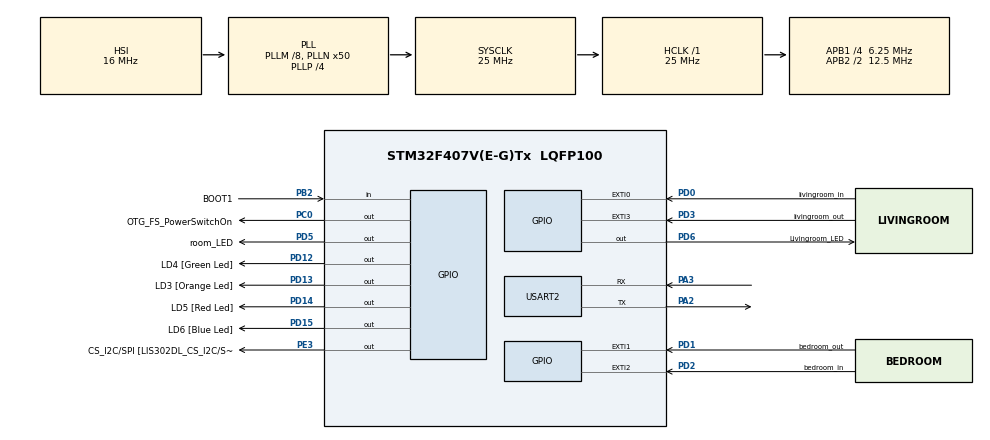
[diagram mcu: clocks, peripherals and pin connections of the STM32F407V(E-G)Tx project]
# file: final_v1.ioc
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Mcu.Family=STM32F4
Mcu.Name=STM32F407V(E-G)Tx
Mcu.Package=LQFP100
NVIC.EXTI0_IRQn=true\:15\:0\:true\:false\:true\:true\:true\:true
NVIC.EXTI1_IRQn=true\:15\:0\:true\:false\:true\:true\:true\:true
NVIC.EXTI2_IRQn=true\:15\:0\:true\:false\:true\:true\:true\:true
NVIC.EXTI3_IRQn=true\:15\:0\:true\:false\:true\:true\:true\:true
NVIC.PriorityGroup=NVIC_PRIORITYGROUP_4
NVIC.TIM7_IRQn=true\:15\:0\:false\:false\:true\:false\:true\:true
NVIC.TimeBase=TIM7_IRQn
NVIC.TimeBaseIP=TIM7
PA10.GPIO_Label=OTG_FS_ID
PA10.GPIO_Mode=GPIO_MODE_AF_PP
PA10.GPIO_PuPd=GPIO_NOPULL
PA10.GPIO_Speed=GPIO_SPEED_FREQ_LOW
PA10.Signal=USB_OTG_FS_ID
PA11.GPIO_Label=OTG_FS_DM
PA11.GPIO_Mode=GPIO_MODE_AF_PP
PA11.GPIO_PuPd=GPIO_NOPULL
PA11.GPIO_Speed=GPIO_SPEED_FREQ_LOW
PA11.Signal=USB_OTG_FS_DM
PA12.GPIO_Label=OTG_FS_DP
PA12.GPIO_Mode=GPIO_MODE_AF_PP
PA12.GPIO_PuPd=GPIO_NOPULL
PA12.GPIO_Speed=GPIO_SPEED_FREQ_LOW
PA12.Signal=USB_OTG_FS_DP
PA13.GPIO_Label=SWDIO
PA13.Mode=Serial_Wire
PA13.Signal=SYS_JTMS-SWDIO
PA14.GPIO_Label=SWCLK
PA14.Mode=Serial_Wire
PA14.Signal=SYS_JTCK-SWCLK
PA2.Mode=Asynchronous
PA2.Signal=USART2_TX
PA3.Mode=Asynchronous
PA3.Signal=USART2_RX
PA4.GPIO_Label=I2S3_WS [CS43L22_LRCK]
PA4.GPIO_Mode=GPIO_MODE_AF_PP
PA4.GPIO_PuPd=GPIO_NOPULL
PA4.GPIO_Speed=GPIO_SPEED_FREQ_LOW
PA4.Signal=I2S3_WS
PA5.GPIO_Label=SPI1_SCK [LIS302DL_SCL/SPC]
PA5.GPIO_Mode=GPIO_MODE_AF_PP
PA5.GPIO_PuPd=GPIO_NOPULL
PA5.GPIO_Speed=GPIO_SPEED_FREQ_LOW
PA5.Signal=SPI1_SCK
PA6.GPIO_Label=SPI1_MISO [LIS302DL_SDO]
PA6.GPIO_Mode=GPIO_MODE_AF_PP
PA6.GPIO_PuPd=GPIO_NOPULL
PA6.GPIO_Speed=GPIO_SPEED_FREQ_LOW
PA6.Signal=SPI1_MISO
PA7.GPIO_Label=SPI1_MOSI [LIS302DL_SDA/SDI/SDO]
PA7.GPIO_Mode=GPIO_MODE_AF_PP
PA7.GPIO_PuPd=GPIO_NOPULL
PA7.GPIO_Speed=GPIO_SPEED_FREQ_LOW
PA7.Signal=SPI1_MOSI
PA9.GPIO_Label=VBUS_FS
PA9.GPIO_Mode=GPIO_MODE_INPUT
PA9.GPIO_PuPd=GPIO_NOPULL
PA9.Signal=USB_OTG_FS_VBUS
PB10.GPIO_Label=CLK_IN [MP45DT02_CLK]
PB10.GPIO_Mode=GPIO_MODE_AF_PP
PB10.GPIO_PuPd=GPIO_NOPULL
PB10.GPIO_Speed=GPIO_SPEED_FREQ_LOW
PB10.Signal=I2S2_CK
PB2.GPIO_Label=BOOT1
PB2.GPIO_Mode=GPIO_MODE_INPUT
PB2.GPIO_PuPd=GPIO_NOPULL
PB2.Signal=GPIO_Input
PB3.GPIO_Label=SWO
PB3.Signal=SYS_JTDO-SWO
PB6.GPIO_Label=Audio_SCL [CS43L22_SCL]
PB6.GPIO_Mode=GPIO_MODE_AF_OD
PB6.GPIO_PuPd=GPIO_NOPULL
PB6.GPIO_Speed=GPIO_SPEED_FREQ_LOW
PB6.Signal=I2C1_SCL
PB9.GPIO_Label=Audio_SDA [CS43L22_SDA]
PB9.GPIO_Mode=GPIO_MODE_AF_OD
PB9.GPIO_PuPd=GPIO_NOPULL
PB9.GPIO_Speed=GPIO_SPEED_FREQ_LOW
PB9.Signal=I2C1_SDA
PC0.GPIO_Label=OTG_FS_PowerSwitchOn
PC0.GPIO_PuPd=GPIO_NOPULL
PC0.GPIO_Speed=GPIO_SPEED_FREQ_LOW
PC0.PinState=GPIO_PIN_SET
PC0.Signal=GPIO_Output
PC10.GPIO_Label=I2S3_SCK [CS43L22_SCLK]
PC10.GPIO_Mode=GPIO_MODE_AF_PP
PC10.GPIO_PuPd=GPIO_NOPULL
PC10.GPIO_Speed=GPIO_SPEED_FREQ_LOW
PC10.Signal=I2S3_CK
PC12.GPIO_Label=I2S3_SD [CS43L22_SDIN]
PC12.GPIO_Mode=GPIO_MODE_AF_PP
PC12.GPIO_PuPd=GPIO_NOPULL
PC12.GPIO_Speed=GPIO_SPEED_FREQ_LOW
PC12.Signal=I2S3_SD
PC14-OSC32_IN.GPIO_Label=PC14-OSC32_IN
PC14-OSC32_IN.Signal=RCC_OSC32_IN
PC15-OSC32_OUT.GPIO_Label=PC15-OSC32_OUT
PC15-OSC32_OUT.Signal=RCC_OSC32_OUT
PC3.GPIO_Label=PDM_OUT [MP45DT02_DOUT]
PC3.GPIO_Mode=GPIO_MODE_AF_PP
PC3.GPIO_PuPd=GPIO_NOPULL
PC3.GPIO_Speed=GPIO_SPEED_FREQ_LOW
PC3.Signal=I2S2_SD
PC7.GPIO_Label=I2S3_MCK [CS43L22_MCLK]
PC7.GPIO_Mode=GPIO_MODE_AF_PP
PC7.GPIO_PuPd=GPIO_NOPULL
PC7.GPIO_Speed=GPIO_SPEED_FREQ_LOW
PC7.Signal=I2S3_MCK
PD0.GPIO_Label=livingroom_in
PD0.Signal=GPXTI0
PD1.GPIO_Label=bedroom_out
PD1.Signal=GPXTI1
PD12.GPIO_Label=LD4 [Green Led]
PD12.GPIO_PuPd=GPIO_NOPULL
PD12.GPIO_Speed=GPIO_SPEED_FREQ_LOW
PD12.Signal=GPIO_Output
PD13.GPIO_Label=LD3 [Orange Led]
PD13.GPIO_PuPd=GPIO_NOPULL
PD13.GPIO_Speed=GPIO_SPEED_FREQ_LOW
PD13.Signal=GPIO_Output
PD14.GPIO_Label=LD5 [Red Led]
PD14.GPIO_PuPd=GPIO_NOPULL
PD14.GPIO_Speed=GPIO_SPEED_FREQ_LOW
PD14.Signal=GPIO_Output
PD15.GPIO_Label=LD6 [Blue Led]
PD15.GPIO_PuPd=GPIO_NOPULL
PD15.GPIO_Speed=GPIO_SPEED_FREQ_LOW
PD15.Signal=GPIO_Output
PD2.GPIO_Label=bedroom_in
PD2.Signal=GPXTI2
PD3.GPIO_Label=livingroom_out
PD3.Signal=GPXTI3
PD5.GPIO_Label=room_LED
PD5.Signal=GPIO_Output
PD6.GPIO_Label=Livingroom_LED
PD6.Signal=GPIO_Output
PE3.GPIO_Label=CS_I2C/SPI [LIS302DL_CS_I2C/SPI]
PE3.GPIO_PuPd=GPIO_NOPULL
PE3.GPIO_Speed=GPIO_SPEED_FREQ_LOW
PE3.Signal=GPIO_Output
PH0-OSC_IN.GPIO_Label=PH0-OSC_IN
PH0-OSC_IN.Signal=RCC_OSC_IN
PH1-OSC_OUT.GPIO_Label=PH1-OSC_OUT
PH1-OSC_OUT.Signal=RCC_OSC_OUT
ProjectManager.HeapSize=0x200
ProjectManager.StackSize=0x400
ProjectManager.TargetToolchain=STM32CubeIDE
RCC.48MHZClocksFreq_Value=14285714.285714285
RCC.AHBFreq_Value=25000000
RCC.APB1CLKDivider=RCC_HCLK_DIV4
RCC.APB1Freq_Value=6250000
RCC.APB1TimFreq_Value=12500000
RCC.APB2CLKDivider=RCC_HCLK_DIV2
RCC.APB2Freq_Value=12500000
RCC.APB2TimFreq_Value=25000000
RCC.CortexFreq_Value=25000000
RCC.HCLKFreq_Value=25000000
RCC.HSE_VALUE=8000000
RCC.HSI_VALUE=16000000
RCC.LSE_VALUE=32768
RCC.PLLM=8
RCC.PLLN=50
RCC.PLLP=RCC_PLLP_DIV4
RCC.PLLQ=7
RCC.SYSCLKFreq_VALUE=25000000
RCC.SYSCLKSource=RCC_SYSCLKSOURCE_PLLCLK
RCC.VCOOutputFreq_Value=100000000
USART2.VirtualMode=VM_ASYNC
VP_SYS_VS_tim7.Mode=TIM7
board=STM32F407G-DISC1

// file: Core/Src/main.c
/* USER CODE BEGIN Header */
/**
  ******************************************************************************
  * @file           : main.c
  * @brief          : Main program body
  ******************************************************************************
  * @attention
  *
  * Copyright (c) 2022 STMicroelectronics.
  * All rights reserved.
  *
  * This software is licensed under terms that can be found in the LICENSE file
  * in the root directory of this software component.
  * If no LICENSE file comes with this software, it is provided AS-IS.
  *
  ******************************************************************************
  */
/* USER CODE END Header */
#include "main.h"

/* USER CODE BEGIN Includes */
#include"FreeRTOS.h"
#include"task.h"
#include"semphr.h"

/* USER CODE END Includes */

UART_HandleTypeDef huart2;

void SystemClock_Config(void);
static void MX_GPIO_Init(void);
static void MX_USART2_UART_Init(void);

/* USER CODE BEGIN 0 */
BaseType_t xReturned;
TaskHandle_t xHandle=NULL;

// flags
int bedroom_out = 0;
int bedroom_in = 0;
int livingroom_out = 0;
int livingroom_in = 0;

// there are 2 counter
int number_of_people_livingroom = 0;
int number_of_people_bedroom = 0;
// there are 2 array to store sensor change state
// [out,in, out,in]
int bedroom_state[4] = {0,0,0,0};
int livingroom_state[4] = {0,0,0,0};

int counter_bed = 5;
int counter_living = 5;

SemaphoreHandle_t xSemaphore;

//void HAL_GPIO_EXTI_Callback(uint16_t GPIO_Pin);
//void HAL_GPIO_EXTI_IRQHandler(uint16_t GPIO_Pin);

//void Sensor_LED( void );

void Sensor_bedroom_in( void );
void Sensor_bedroom_out( void );
void Sensor_livingroom_in( void );
void Sensor_livingroom_out( void );

void LED_task( void );

void LED_Task( void ){
	HAL_GPIO_WritePin(GPIOD, GPIO_PIN_12 | GPIO_PIN_13 | GPIO_PIN_14 | GPIO_PIN_15, GPIO_PIN_RESET);
	for(;;){

		HAL_GPIO_WritePin(GPIOD, GPIO_PIN_12, GPIO_PIN_SET );
		vTaskDelay(500);
		HAL_GPIO_WritePin(GPIOD, GPIO_PIN_12, GPIO_PIN_RESET );
		vTaskDelay(500);
	}
}

// for UART2
void USART_Test(void *pvParameters){
	uint32_t Monitortimer = 400;
	char MonitorTset[30];
	char num[15];
	int i = 0;
	while(1){
		 memset(MonitorTset,'\0',sizeof(MonitorTset));
		 memset(num,'\0',sizeof(num));
		 itoa(i,num,10);
		 strcat(num," ");
		 sprintf(MonitorTset,"The point is %s\n\r",num);
		 HAL_UART_Transmit(&huart2,(uint8_t *)MonitorTset,strlen(MonitorTset),0xffff);
		 vTaskDelay(Monitortimer);
		 Monitortimer += 1;
		 i += 1;
	 }
 }

/* USER CODE END 0 */

int main(void)
{

  /* MCU Configuration--------------------------------------------------------*/

  /* Reset of all peripherals, Initializes the Flash interface and the Systick. */
  HAL_Init();

  /* Configure the system clock */
  SystemClock_Config();

  /* Initialize all configured peripherals */
  MX_GPIO_Init();
  MX_USART2_UART_Init();
  /* USER CODE BEGIN 2 */
//  xTaskCreate(
//		  USART_Test,
//		  "USART_Test",
//		  128,
//		  NULL,
//		  1,
//		  &xHandle);

//  xTaskCreate(Sensor_bedroom_in,"Sensor_bedroom_in",128,NULL,3,&xHandle);
//  xTaskCreate(Sensor_bedroom_out,"Sensor_bedroom_out",128,NULL,3,&xHandle);
//  xTaskCreate(Sensor_livingroom_in,"Sensor_livingroom_in",128,NULL,3,&xHandle);
//  xTaskCreate(Sensor_livingroom_out,"Sensor_livingroom_out",128,NULL,3,&xHandle);
  xSemaphore = xSemaphoreCreateBinary();

  xTaskCreate(LED_task,"LED_task",128,NULL,1,&xHandle);

  vTaskStartScheduler();
  /* USER CODE END 2 */

  /* Infinite loop */
  while (1)
  {

  }
}

void SystemClock_Config(void)
{
  RCC_OscInitTypeDef RCC_OscInitStruct = {0};
  RCC_ClkInitTypeDef RCC_ClkInitStruct = {0};

  /** Configure the main internal regulator output voltage
  */
  __HAL_RCC_PWR_CLK_ENABLE();
  __HAL_PWR_VOLTAGESCALING_CONFIG(PWR_REGULATOR_VOLTAGE_SCALE1);

  /** Initializes the RCC Oscillators according to the specified parameters
  * in the RCC_OscInitTypeDef structure.
  */
  RCC_OscInitStruct.OscillatorType = RCC_OSCILLATORTYPE_HSI;
  RCC_OscInitStruct.HSIState = RCC_HSI_ON;
  RCC_OscInitStruct.HSICalibrationValue = RCC_HSICALIBRATION_DEFAULT;
  RCC_OscInitStruct.PLL.PLLState = RCC_PLL_ON;
  RCC_OscInitStruct.PLL.PLLSource = RCC_PLLSOURCE_HSI;
  RCC_OscInitStruct.PLL.PLLM = 8;
  RCC_OscInitStruct.PLL.PLLN = 50;
  RCC_OscInitStruct.PLL.PLLP = RCC_PLLP_DIV4;
  RCC_OscInitStruct.PLL.PLLQ = 7;
  if (HAL_RCC_OscConfig(&RCC_OscInitStruct) != HAL_OK)
  {
    Error_Handler();
  }

  /** Initializes the CPU, AHB and APB buses clocks
  */
  RCC_ClkInitStruct.ClockType = RCC_CLOCKTYPE_HCLK|RCC_CLOCKTYPE_SYSCLK
                              |RCC_CLOCKTYPE_PCLK1|RCC_CLOCKTYPE_PCLK2;
  RCC_ClkInitStruct.SYSCLKSource = RCC_SYSCLKSOURCE_PLLCLK;
  RCC_ClkInitStruct.AHBCLKDivider = RCC_SYSCLK_DIV1;
  RCC_ClkInitStruct.APB1CLKDivider = RCC_HCLK_DIV4;
  RCC_ClkInitStruct.APB2CLKDivider = RCC_HCLK_DIV2;

  if (HAL_RCC_ClockConfig(&RCC_ClkInitStruct, FLASH_LATENCY_0) != HAL_OK)
  {
    Error_Handler();
  }
}

static void MX_USART2_UART_Init(void)
{

  huart2.Instance = USART2;
  huart2.Init.BaudRate = 115200;
  huart2.Init.WordLength = UART_WORDLENGTH_8B;
  huart2.Init.StopBits = UART_STOPBITS_1;
  huart2.Init.Parity = UART_PARITY_NONE;
  huart2.Init.Mode = UART_MODE_TX_RX;
  huart2.Init.HwFlowCtl = UART_HWCONTROL_NONE;
  huart2.Init.OverSampling = UART_OVERSAMPLING_16;
  if (HAL_UART_Init(&huart2) != HAL_OK)
  {
    Error_Handler();
  }

}

static void MX_GPIO_Init(void)
{
  GPIO_InitTypeDef GPIO_InitStruct = {0};

  /* GPIO Ports Clock Enable */
  __HAL_RCC_GPIOE_CLK_ENABLE();
  __HAL_RCC_GPIOC_CLK_ENABLE();
  __HAL_RCC_GPIOH_CLK_ENABLE();
  __HAL_RCC_GPIOA_CLK_ENABLE();
  __HAL_RCC_GPIOB_CLK_ENABLE();
  __HAL_RCC_GPIOD_CLK_ENABLE();

  /*Configure GPIO pin Output Level */
  HAL_GPIO_WritePin(CS_I2C_SPI_GPIO_Port, CS_I2C_SPI_Pin, GPIO_PIN_RESET);

  /*Configure GPIO pin Output Level */
  HAL_GPIO_WritePin(OTG_FS_PowerSwitchOn_GPIO_Port, OTG_FS_PowerSwitchOn_Pin, GPIO_PIN_SET);

  /*Configure GPIO pin Output Level */
  HAL_GPIO_WritePin(GPIOD, LD4_Pin|LD3_Pin|LD5_Pin|LD6_Pin
                          |room_LED_Pin|Livingroom_LED_Pin, GPIO_PIN_RESET);

  /*Configure GPIO pin : CS_I2C_SPI_Pin */
  GPIO_InitStruct.Pin = CS_I2C_SPI_Pin;
  GPIO_InitStruct.Mode = GPIO_MODE_OUTPUT_PP;
  GPIO_InitStruct.Pull = GPIO_NOPULL;
  GPIO_InitStruct.Speed = GPIO_SPEED_FREQ_LOW;
  HAL_GPIO_Init(CS_I2C_SPI_GPIO_Port, &GPIO_InitStruct);

  /*Configure GPIO pin : OTG_FS_PowerSwitchOn_Pin */
  GPIO_InitStruct.Pin = OTG_FS_PowerSwitchOn_Pin;
  GPIO_InitStruct.Mode = GPIO_MODE_OUTPUT_PP;
  GPIO_InitStruct.Pull = GPIO_NOPULL;
  GPIO_InitStruct.Speed = GPIO_SPEED_FREQ_LOW;
  HAL_GPIO_Init(OTG_FS_PowerSwitchOn_GPIO_Port, &GPIO_InitStruct);

  /*Configure GPIO pin : PDM_OUT_Pin */
  GPIO_InitStruct.Pin = PDM_OUT_Pin;
  GPIO_InitStruct.Mode = GPIO_MODE_AF_PP;
  GPIO_InitStruct.Pull = GPIO_NOPULL;
  GPIO_InitStruct.Speed = GPIO_SPEED_FREQ_LOW;
  GPIO_InitStruct.Alternate = GPIO_AF5_SPI2;
  HAL_GPIO_Init(PDM_OUT_GPIO_Port, &GPIO_InitStruct);

  /*Configure GPIO pin : I2S3_WS_Pin */
  GPIO_InitStruct.Pin = I2S3_WS_Pin;
  GPIO_InitStruct.Mode = GPIO_MODE_AF_PP;
  GPIO_InitStruct.Pull = GPIO_NOPULL;
  GPIO_InitStruct.Speed = GPIO_SPEED_FREQ_LOW;
  GPIO_InitStruct.Alternate = GPIO_AF6_SPI3;
  HAL_GPIO_Init(I2S3_WS_GPIO_Port, &GPIO_InitStruct);

  /*Configure GPIO pins : SPI1_SCK_Pin SPI1_MISO_Pin SPI1_MOSI_Pin */
  GPIO_InitStruct.Pin = SPI1_SCK_Pin|SPI1_MISO_Pin|SPI1_MOSI_Pin;
  GPIO_InitStruct.Mode = GPIO_MODE_AF_PP;
  GPIO_InitStruct.Pull = GPIO_NOPULL;
  GPIO_InitStruct.Speed = GPIO_SPEED_FREQ_LOW;
  GPIO_InitStruct.Alternate = GPIO_AF5_SPI1;
  HAL_GPIO_Init(GPIOA, &GPIO_InitStruct);

  /*Configure GPIO pin : BOOT1_Pin */
  GPIO_InitStruct.Pin = BOOT1_Pin;
  GPIO_InitStruct.Mode = GPIO_MODE_INPUT;
  GPIO_InitStruct.Pull = GPIO_NOPULL;
  HAL_GPIO_Init(BOOT1_GPIO_Port, &GPIO_InitStruct);

  /*Configure GPIO pin : CLK_IN_Pin */
  GPIO_InitStruct.Pin = CLK_IN_Pin;
  GPIO_InitStruct.Mode = GPIO_MODE_AF_PP;
  GPIO_InitStruct.Pull = GPIO_NOPULL;
  GPIO_InitStruct.Speed = GPIO_SPEED_FREQ_LOW;
  GPIO_InitStruct.Alternate = GPIO_AF5_SPI2;
  HAL_GPIO_Init(CLK_IN_GPIO_Port, &GPIO_InitStruct);

  /*Configure GPIO pins : LD4_Pin LD3_Pin LD5_Pin LD6_Pin
                           room_LED_Pin Livingroom_LED_Pin */
  GPIO_InitStruct.Pin = LD4_Pin|LD3_Pin|LD5_Pin|LD6_Pin
                          |room_LED_Pin|Livingroom_LED_Pin;
  GPIO_InitStruct.Mode = GPIO_MODE_OUTPUT_PP;
  GPIO_InitStruct.Pull = GPIO_NOPULL;
  GPIO_InitStruct.Speed = GPIO_SPEED_FREQ_LOW;
  HAL_GPIO_Init(GPIOD, &GPIO_InitStruct);

  /*Configure GPIO pins : I2S3_MCK_Pin I2S3_SCK_Pin I2S3_SD_Pin */
  GPIO_InitStruct.Pin = I2S3_MCK_Pin|I2S3_SCK_Pin|I2S3_SD_Pin;
  GPIO_InitStruct.Mode = GPIO_MODE_AF_PP;
  GPIO_InitStruct.Pull = GPIO_NOPULL;
  GPIO_InitStruct.Speed = GPIO_SPEED_FREQ_LOW;
  GPIO_InitStruct.Alternate = GPIO_AF6_SPI3;
  HAL_GPIO_Init(GPIOC, &GPIO_InitStruct);

  /*Configure GPIO pin : VBUS_FS_Pin */
  GPIO_InitStruct.Pin = VBUS_FS_Pin;
  GPIO_InitStruct.Mode = GPIO_MODE_INPUT;
  GPIO_InitStruct.Pull = GPIO_NOPULL;
  HAL_GPIO_Init(VBUS_FS_GPIO_Port, &GPIO_InitStruct);

  /*Configure GPIO pins : OTG_FS_ID_Pin OTG_FS_DM_Pin OTG_FS_DP_Pin */
  GPIO_InitStruct.Pin = OTG_FS_ID_Pin|OTG_FS_DM_Pin|OTG_FS_DP_Pin;
  GPIO_InitStruct.Mode = GPIO_MODE_AF_PP;
  GPIO_InitStruct.Pull = GPIO_NOPULL;
  GPIO_InitStruct.Speed = GPIO_SPEED_FREQ_LOW;
  GPIO_InitStruct.Alternate = GPIO_AF10_OTG_FS;
  HAL_GPIO_Init(GPIOA, &GPIO_InitStruct);

  /*Configure GPIO pins : livingroom_in_Pin bedroom_out_Pin bedroom_in_Pin livingroom_out_Pin */
  GPIO_InitStruct.Pin = livingroom_in_Pin|bedroom_out_Pin|bedroom_in_Pin|livingroom_out_Pin;
  GPIO_InitStruct.Mode = GPIO_MODE_IT_RISING;
  GPIO_InitStruct.Pull = GPIO_NOPULL;
  HAL_GPIO_Init(GPIOD, &GPIO_InitStruct);

  /*Configure GPIO pins : Audio_SCL_Pin Audio_SDA_Pin */
  GPIO_InitStruct.Pin = Audio_SCL_Pin|Audio_SDA_Pin;
  GPIO_InitStruct.Mode = GPIO_MODE_AF_OD;
  GPIO_InitStruct.Pull = GPIO_NOPULL;
  GPIO_InitStruct.Speed = GPIO_SPEED_FREQ_LOW;
  GPIO_InitStruct.Alternate = GPIO_AF4_I2C1;
  HAL_GPIO_Init(GPIOB, &GPIO_InitStruct);

  /* EXTI interrupt init*/
  HAL_NVIC_SetPriority(EXTI0_IRQn, 15, 0);
  HAL_NVIC_EnableIRQ(EXTI0_IRQn);

  HAL_NVIC_SetPriority(EXTI1_IRQn, 15, 0);
  HAL_NVIC_EnableIRQ(EXTI1_IRQn);

  HAL_NVIC_SetPriority(EXTI2_IRQn, 15, 0);
  HAL_NVIC_EnableIRQ(EXTI2_IRQn);

  HAL_NVIC_SetPriority(EXTI3_IRQn, 15, 0);
  HAL_NVIC_EnableIRQ(EXTI3_IRQn);

}

/* USER CODE BEGIN 4 */

void EXTI0_IRQHandler(void)
{
  /* USER CODE BEGIN EXTI0_IRQn 0 */
	livingroom_in = 1;
  /* USER CODE END EXTI0_IRQn 0 */
  HAL_GPIO_EXTI_IRQHandler(livingroom_in_Pin);

  counter_living = 5;

  /* USER CODE BEGIN EXTI0_IRQn 1 */

  /* USER CODE END EXTI0_IRQn 1 */
}

/**
  * @brief This function handles EXTI line1 interrupt.
  */
void EXTI1_IRQHandler(void)
{
  /* USER CODE BEGIN EXTI1_IRQn 0 */
	bedroom_out = 1;
  /* USER CODE END EXTI1_IRQn 0 */

  HAL_GPIO_EXTI_IRQHandler(bedroom_out_Pin);
  /* USER CODE BEGIN EXTI1_IRQn 1 */
  counter_bed = 5;
  /* USER CODE END EXTI1_IRQn 1 */
}

/**
  * @brief This function handles EXTI line2 interrupt.
  */
void EXTI2_IRQHandler(void)
{
  /* USER CODE BEGIN EXTI2_IRQn 0 */
	bedroom_in = 1;

  /* USER CODE END EXTI2_IRQn 0 */
  HAL_GPIO_EXTI_IRQHandler(bedroom_in_Pin);
  /* USER CODE BEGIN EXTI2_IRQn 1 */
  counter_bed = 5;
  // Clear the EXTI line 0 pending interrupt flag
//  __HAL_GPIO_EXTI_CLEAR_IT(bedroom_in_Pin);

  /* USER CODE END EXTI2_IRQn 1 */
}

/**
  * @brief This function handles EXTI line3 interrupt.
  */
void EXTI3_IRQHandler(void)
{
  /* USER CODE BEGIN EXTI3_IRQn 0 */
	livingroom_out = 1;
  /* USER CODE END EXTI3_IRQn 0 */
  HAL_GPIO_EXTI_IRQHandler(livingroom_out_Pin);
  /* USER CODE BEGIN EXTI3_IRQn 1 */
  counter_living = 5;
  /* USER CODE END EXTI3_IRQn 1 */
}

void HAL_GPIO_EXTI_IRQHandler(uint16_t GPIO_Pin){
	/* EXTI line interrupt detected */
	if(__HAL_GPIO_EXTI_GET_IT(GPIO_Pin) != RESET)
	{

		__HAL_GPIO_EXTI_CLEAR_IT(GPIO_Pin);

		HAL_GPIO_EXTI_Callback(GPIO_Pin);

	}
}

void HAL_GPIO_EXTI_Callback(uint16_t GPIO_Pin){

	BaseType_t *taskwoken;
	taskwoken=pdFALSE;

	char MonitorTset[30];
	memset(MonitorTset,'\0',sizeof(MonitorTset));

	if(GPIO_Pin == bedroom_in_Pin ||  GPIO_Pin == bedroom_out_Pin){
		// state change bedroom
		bedroom_state[0] = bedroom_state[2];
		bedroom_state[1] = bedroom_state[3];
		bedroom_state[2] = bedroom_out;
		bedroom_state[3] = bedroom_in;

		bedroom_in = 0;
		bedroom_out = 0;
	}

	else{
		// state change living room
		livingroom_state[0] = livingroom_state[2];
		livingroom_state[1] = livingroom_state[3];
		livingroom_state[2] = livingroom_out;
		livingroom_state[3] = livingroom_in;

		livingroom_in = 0;
		livingroom_out = 0;
	}

	xSemaphoreGiveFromISR(xSemaphore,&taskwoken);
}

void LED_task ( void ){

	for(;;){
		if(counter_bed > 0){
			counter_bed--;
		}
		if(counter_living > 0){
			counter_living--;
		}

		char MonitorTset[30];
		memset(MonitorTset,'\0',sizeof(MonitorTset));

		if( xSemaphore != NULL ){
			if( xSemaphoreTake( xSemaphore, ( TickType_t ) 10  ) == pdTRUE ){

				sprintf(MonitorTset,"bedroom_state %d %d %d %d\n\r",bedroom_state[0],bedroom_state[1],bedroom_state[2],bedroom_state[3]);
				HAL_UART_Transmit(&huart2,(uint8_t *)MonitorTset,strlen(MonitorTset),0xffff);

				sprintf(MonitorTset,"livingroom_state %d %d %d %d\n\r",livingroom_state[0],livingroom_state[1],livingroom_state[2],livingroom_state[3]);
				HAL_UART_Transmit(&huart2,(uint8_t *)MonitorTset,strlen(MonitorTset),0xffff);

				// for the bedroom
				if(bedroom_state[0]== 1 && bedroom_state[1]== 0 && bedroom_state[2]== 0 && bedroom_state[3]== 1){
					number_of_people_bedroom++;
					number_of_people_livingroom--;

					for(int i = 0 ; i < 4 ; ++i){
						bedroom_state[i] = 0;
					}

				}
				else if(bedroom_state[0]== 0 && bedroom_state[1]== 1 && bedroom_state[2]== 1 && bedroom_state[3]== 0){
					number_of_people_bedroom--;
					number_of_people_livingroom++;
					for(int i = 0 ; i < 4 ; ++i){
						bedroom_state[i] = 0;
					}
				}

				// for the living room
				if(livingroom_state[0]== 1 && livingroom_state[1]== 0 && livingroom_state[2]== 0 && livingroom_state[3]== 1){
					number_of_people_livingroom++;

					for(int i = 0 ; i < 4 ; ++i){
						livingroom_state[i] = 0;
					}

				}
				else if(livingroom_state[0]== 0 && livingroom_state[1]== 1 && livingroom_state[2]== 1 && livingroom_state[3]== 0){
					number_of_people_livingroom--;

					for(int i = 0 ; i < 4 ; ++i){
						livingroom_state[i] = 0;
					}
				}

				sprintf(MonitorTset,"number_of_people_bedroom %d\n\r",number_of_people_bedroom);
				HAL_UART_Transmit(&huart2,(uint8_t *)MonitorTset,strlen(MonitorTset),0xffff);

				sprintf(MonitorTset,"number_of_people_livingroom %d\n\r",number_of_people_livingroom);
				HAL_UART_Transmit(&huart2,(uint8_t *)MonitorTset,strlen(MonitorTset),0xffff);

				// for LED controll
				if(number_of_people_bedroom > 0){
					// turn on the bedroom LED
					HAL_GPIO_WritePin(GPIOD, room_LED_Pin, GPIO_PIN_SET);
				}
				else{
					number_of_people_bedroom = 0;
					// turn off the bedroom LED
					HAL_GPIO_WritePin(GPIOD, room_LED_Pin, GPIO_PIN_RESET);
				}

				if(number_of_people_livingroom > 0){
					// turn on the bedroom LED
					HAL_GPIO_WritePin(GPIOD, Livingroom_LED_Pin, GPIO_PIN_SET);
				}
				else{
					number_of_people_livingroom = 0;
					// turn off the bedroom LED
					HAL_GPIO_WritePin(GPIOD, Livingroom_LED_Pin, GPIO_PIN_RESET);
				}

				if(counter_bed == 0){
					for(int i = 0 ; i < 4 ; ++i){
						bedroom_state[i] = 0;
					}
				}
				if(counter_living == 0){
					for(int i = 0 ; i < 4 ; ++i){
						livingroom_state[i] = 0;
					}
				}

				sprintf(MonitorTset,"counter_bed, counter_living %d, %d\n\r",counter_bed,counter_living);
				HAL_UART_Transmit(&huart2,(uint8_t *)MonitorTset,strlen(MonitorTset),0xffff);

				sprintf(MonitorTset,"\n\r");
				HAL_UART_Transmit(&huart2,(uint8_t *)MonitorTset,strlen(MonitorTset),0xffff);
			}
		}

		vTaskDelay(500);
		xSemaphoreGive( xSemaphore );
	}
}

/* USER CODE END 4 */

void HAL_TIM_PeriodElapsedCallback(TIM_HandleTypeDef *htim)
{
  if (htim->Instance == TIM7) {
    HAL_IncTick();
  }
}

void Error_Handler(void)
{
  __disable_irq();
  while (1)
  {
  }
}
